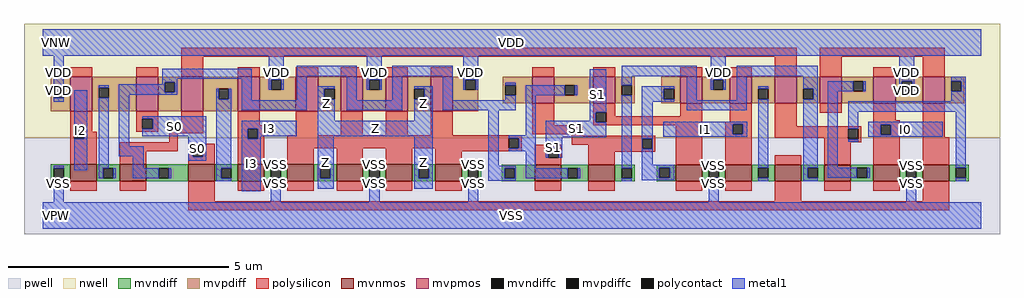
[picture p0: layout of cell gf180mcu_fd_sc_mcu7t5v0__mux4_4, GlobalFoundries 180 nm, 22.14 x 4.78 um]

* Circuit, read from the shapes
.subckt gf180mcu_fd_sc_mcu7t5v0__mux4_4 I0 I1 I2 I3 S0 S1 Z VDD VNW VPW VSS
XM1 n1 I2 VSS VPW nfet_06v0 w=0.38u l=0.6u
XM2 n2 n3 n1 VPW nfet_06v0 w=0.38u l=0.6u
XM3 n4 S0 n2 VPW nfet_06v0 w=0.38u l=0.6u
XM4 VSS I3 n4 VPW nfet_06v0 w=0.38u l=0.6u
XM5 Z n5 VSS VPW nfet_06v0 w=0.38u l=0.6u m=4
XM6 n5 S1 n2 VPW nfet_06v0 w=0.365u l=0.6u
XM7 n6 n7 n5 VPW nfet_06v0 w=0.365u l=0.6u
XM8 VSS S1 n7 VPW nfet_06v0 w=0.365u l=0.6u
XM9 n8 I1 VSS VPW nfet_06v0 w=0.365u l=0.6u
XM10 n6 S0 n8 VPW nfet_06v0 w=0.365u l=0.6u
XM11 n9 n3 n6 VPW nfet_06v0 w=0.365u l=0.6u
XM12 VSS I0 n9 VPW nfet_06v0 w=0.365u l=0.6u
XM13 n3 S0 VSS VPW nfet_06v0 w=0.365u l=0.6u
XM14 n1 I2 VDD VNW pfet_06v0 w=0.78u l=0.5u
XM15 n2 S0 n1 VNW pfet_06v0 w=0.78u l=0.5u
XM16 n4 n3 n2 VNW pfet_06v0 w=0.78u l=0.5u
XM17 VDD I3 n4 VNW pfet_06v0 w=0.78u l=0.5u
XM18 Z n5 VDD VNW pfet_06v0 w=0.78u l=0.5u m=4
XM19 n5 n7 n2 VNW pfet_06v0 w=0.595u l=0.5u
XM20 n6 S1 n5 VNW pfet_06v0 w=0.595u l=0.5u
XM21 VDD S1 n7 VNW pfet_06v0 w=0.595u l=0.5u
XM22 n8 I1 VDD VNW pfet_06v0 w=0.595u l=0.5u
XM23 n6 n3 n8 VNW pfet_06v0 w=0.595u l=0.5u
XM24 n9 S0 n6 VNW pfet_06v0 w=0.595u l=0.5u
XM25 VDD I0 n9 VNW pfet_06v0 w=0.595u l=0.5u
XM26 n3 S0 VDD VNW pfet_06v0 w=0.595u l=0.5u
.ends

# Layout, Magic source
magic
tech gf180mcuD
magscale 1 10
<< nwell >>
rect -86 352 4342 870
<< pwell >>
rect -86 -86 4342 352
<< mvnmos >>
rect 124 156 244 232
rect 348 156 468 232
rect 660 156 780 232
rect 884 156 1004 232
rect 1108 156 1228 232
rect 1332 156 1452 232
rect 1556 156 1676 232
rect 1780 156 1900 232
rect 2232 156 2352 229
rect 2475 156 2595 229
rect 2872 156 2992 229
rect 3096 156 3216 229
rect 3320 156 3440 229
rect 3544 156 3664 229
rect 3768 156 3888 229
rect 3992 156 4112 229
<< mvpmos >>
rect 124 472 224 628
rect 424 472 524 628
rect 628 472 728 628
rect 884 472 984 628
rect 1148 472 1248 628
rect 1352 472 1452 628
rect 1556 472 1656 628
rect 1760 472 1860 628
rect 2220 509 2320 628
rect 2496 509 2596 628
rect 2892 509 2992 628
rect 3116 509 3216 628
rect 3320 509 3420 628
rect 3524 509 3624 628
rect 3768 509 3868 628
rect 3992 509 4092 628
<< mvndiff >>
rect 36 215 124 232
rect 36 169 49 215
rect 95 169 124 215
rect 36 156 124 169
rect 244 215 348 232
rect 244 169 273 215
rect 319 169 348 215
rect 244 156 348 169
rect 468 215 660 232
rect 468 169 525 215
rect 571 169 660 215
rect 468 156 660 169
rect 780 215 884 232
rect 780 169 809 215
rect 855 169 884 215
rect 780 156 884 169
rect 1004 215 1108 232
rect 1004 169 1033 215
rect 1079 169 1108 215
rect 1004 156 1108 169
rect 1228 215 1332 232
rect 1228 169 1257 215
rect 1303 169 1332 215
rect 1228 156 1332 169
rect 1452 215 1556 232
rect 1452 169 1481 215
rect 1527 169 1556 215
rect 1452 156 1556 169
rect 1676 215 1780 232
rect 1676 169 1705 215
rect 1751 169 1780 215
rect 1676 156 1780 169
rect 1900 215 1988 232
rect 1900 169 1929 215
rect 1975 169 1988 215
rect 1900 156 1988 169
rect 2082 215 2232 229
rect 2082 169 2095 215
rect 2141 169 2232 215
rect 2082 156 2232 169
rect 2352 215 2475 229
rect 2352 169 2381 215
rect 2427 169 2475 215
rect 2352 156 2475 169
rect 2595 215 2684 229
rect 2595 169 2625 215
rect 2671 169 2684 215
rect 2595 156 2684 169
rect 2784 216 2872 229
rect 2784 170 2797 216
rect 2843 170 2872 216
rect 2784 156 2872 170
rect 2992 216 3096 229
rect 2992 170 3021 216
rect 3067 170 3096 216
rect 2992 156 3096 170
rect 3216 216 3320 229
rect 3216 170 3245 216
rect 3291 170 3320 216
rect 3216 156 3320 170
rect 3440 216 3544 229
rect 3440 170 3469 216
rect 3515 170 3544 216
rect 3440 156 3544 170
rect 3664 216 3768 229
rect 3664 170 3693 216
rect 3739 170 3768 216
rect 3664 156 3768 170
rect 3888 216 3992 229
rect 3888 170 3917 216
rect 3963 170 3992 216
rect 3888 156 3992 170
rect 4112 216 4200 229
rect 4112 170 4141 216
rect 4187 170 4200 216
rect 4112 156 4200 170
<< mvpdiff >>
rect 36 579 124 628
rect 36 533 49 579
rect 95 533 124 579
rect 36 472 124 533
rect 224 579 424 628
rect 224 533 253 579
rect 299 533 424 579
rect 224 472 424 533
rect 524 605 628 628
rect 524 559 553 605
rect 599 559 628 605
rect 524 472 628 559
rect 728 574 884 628
rect 728 528 797 574
rect 843 528 884 574
rect 728 472 884 528
rect 984 615 1148 628
rect 984 569 1035 615
rect 1081 569 1148 615
rect 984 472 1148 569
rect 1248 574 1352 628
rect 1248 528 1277 574
rect 1323 528 1352 574
rect 1248 472 1352 528
rect 1452 615 1556 628
rect 1452 569 1481 615
rect 1527 569 1556 615
rect 1452 472 1556 569
rect 1656 574 1760 628
rect 1656 528 1685 574
rect 1731 528 1760 574
rect 1656 472 1760 528
rect 1860 615 1976 628
rect 1860 569 1917 615
rect 1963 569 1976 615
rect 1860 472 1976 569
rect 2085 590 2220 628
rect 2085 544 2098 590
rect 2144 544 2220 590
rect 2085 509 2220 544
rect 2320 590 2496 628
rect 2320 544 2367 590
rect 2413 544 2496 590
rect 2320 509 2496 544
rect 2596 590 2684 628
rect 2596 544 2625 590
rect 2671 544 2684 590
rect 2596 509 2684 544
rect 2804 574 2892 628
rect 2804 528 2817 574
rect 2863 528 2892 574
rect 2804 509 2892 528
rect 2992 615 3116 628
rect 2992 569 3041 615
rect 3087 569 3116 615
rect 2992 509 3116 569
rect 3216 574 3320 628
rect 3216 528 3245 574
rect 3291 528 3320 574
rect 3216 509 3320 528
rect 3420 574 3524 628
rect 3420 528 3449 574
rect 3495 528 3524 574
rect 3420 509 3524 528
rect 3624 609 3768 628
rect 3624 563 3676 609
rect 3722 563 3768 609
rect 3624 509 3768 563
rect 3868 609 3992 628
rect 3868 563 3897 609
rect 3943 563 3992 609
rect 3868 509 3992 563
rect 4092 609 4180 628
rect 4092 563 4121 609
rect 4167 563 4180 609
rect 4092 509 4180 563
<< mvndiffc >>
rect 49 169 95 215
rect 273 169 319 215
rect 525 169 571 215
rect 809 169 855 215
rect 1033 169 1079 215
rect 1257 169 1303 215
rect 1481 169 1527 215
rect 1705 169 1751 215
rect 1929 169 1975 215
rect 2095 169 2141 215
rect 2381 169 2427 215
rect 2625 169 2671 215
rect 2797 170 2843 216
rect 3021 170 3067 216
rect 3245 170 3291 216
rect 3469 170 3515 216
rect 3693 170 3739 216
rect 3917 170 3963 216
rect 4141 170 4187 216
<< mvpdiffc >>
rect 49 533 95 579
rect 253 533 299 579
rect 553 559 599 605
rect 797 528 843 574
rect 1035 569 1081 615
rect 1277 528 1323 574
rect 1481 569 1527 615
rect 1685 528 1731 574
rect 1917 569 1963 615
rect 2098 544 2144 590
rect 2367 544 2413 590
rect 2625 544 2671 590
rect 2817 528 2863 574
rect 3041 569 3087 615
rect 3245 528 3291 574
rect 3449 528 3495 574
rect 3676 563 3722 609
rect 3897 563 3943 609
rect 4121 563 4167 609
<< polysilicon >>
rect 628 720 3420 760
rect 124 628 224 672
rect 424 628 524 672
rect 628 628 728 720
rect 884 628 984 672
rect 1148 628 1248 672
rect 1352 628 1452 672
rect 1556 628 1656 672
rect 1760 628 1860 672
rect 2220 628 2320 672
rect 2496 628 2596 672
rect 2892 628 2992 672
rect 3116 628 3216 672
rect 3320 628 3420 720
rect 3524 720 4092 760
rect 3524 628 3624 720
rect 3768 628 3868 672
rect 3992 628 4092 720
rect 124 394 224 472
rect 124 348 141 394
rect 187 380 224 394
rect 424 439 524 472
rect 424 393 451 439
rect 497 393 524 439
rect 628 412 728 472
rect 424 380 524 393
rect 187 348 244 380
rect 124 232 244 348
rect 572 372 728 412
rect 884 408 984 472
rect 884 394 1004 408
rect 572 332 612 372
rect 348 292 612 332
rect 884 348 928 394
rect 974 348 1004 394
rect 1148 364 1248 472
rect 1352 364 1452 472
rect 1556 364 1656 472
rect 1760 364 1860 472
rect 2220 409 2320 509
rect 2496 468 2596 509
rect 2496 422 2509 468
rect 2555 449 2596 468
rect 2892 449 2992 509
rect 2555 422 2992 449
rect 3116 426 3216 509
rect 2496 409 2992 422
rect 2220 369 2448 409
rect 660 311 780 324
rect 348 232 468 292
rect 660 265 679 311
rect 725 265 780 311
rect 660 232 780 265
rect 884 232 1004 348
rect 1108 351 2172 364
rect 1108 305 2113 351
rect 2159 305 2172 351
rect 2400 361 2448 369
rect 2400 348 2777 361
rect 2400 321 2718 348
rect 1108 304 2172 305
rect 1108 232 1228 304
rect 1332 232 1452 304
rect 1556 232 1676 304
rect 1780 292 2172 304
rect 2232 308 2352 321
rect 1780 232 1900 292
rect 2232 262 2293 308
rect 2339 262 2352 308
rect 2232 229 2352 262
rect 2475 302 2718 321
rect 2764 302 2777 348
rect 2475 289 2777 302
rect 2475 229 2595 289
rect 2872 229 2992 409
rect 3096 414 3216 426
rect 3096 368 3130 414
rect 3176 368 3216 414
rect 3096 229 3216 368
rect 3320 405 3420 509
rect 3524 465 3624 509
rect 3768 431 3868 509
rect 3768 412 3888 431
rect 3320 392 3712 405
rect 3320 352 3653 392
rect 3544 346 3653 352
rect 3699 346 3712 392
rect 3544 333 3712 346
rect 3768 366 3801 412
rect 3847 366 3888 412
rect 3320 229 3440 273
rect 3544 229 3664 333
rect 3768 229 3888 366
rect 3992 355 4092 509
rect 3992 229 4112 355
rect 124 112 244 156
rect 348 112 468 156
rect 660 64 780 156
rect 884 112 1004 156
rect 1108 112 1228 156
rect 1332 112 1452 156
rect 1556 112 1676 156
rect 1780 112 1900 156
rect 2232 112 2352 156
rect 2475 112 2595 156
rect 2872 112 2992 156
rect 3096 112 3216 156
rect 3320 64 3440 156
rect 3544 112 3664 156
rect 3768 112 3888 156
rect 3992 64 4112 156
rect 660 24 4112 64
<< polycontact >>
rect 141 348 187 394
rect 451 393 497 439
rect 928 348 974 394
rect 2509 422 2555 468
rect 679 265 725 311
rect 2113 305 2159 351
rect 2293 262 2339 308
rect 2718 302 2764 348
rect 3130 368 3176 414
rect 3653 346 3699 392
rect 3801 366 3847 412
<< metal1 >>
rect 0 724 4256 844
rect 49 579 95 724
rect 542 620 947 666
rect 542 605 610 620
rect 542 594 553 605
rect 252 579 299 590
rect 49 515 95 533
rect 141 394 202 567
rect 187 348 202 394
rect 49 215 95 226
rect 141 205 202 348
rect 252 533 253 579
rect 252 215 299 533
rect 345 559 553 594
rect 599 559 610 605
rect 345 548 610 559
rect 345 314 391 548
rect 786 528 797 574
rect 843 528 855 574
rect 451 439 740 450
rect 497 393 740 439
rect 451 360 740 393
rect 345 268 458 314
rect 408 215 458 268
rect 660 311 740 360
rect 660 265 679 311
rect 725 265 740 311
rect 660 248 740 265
rect 786 215 855 528
rect 901 523 947 620
rect 1024 615 1092 724
rect 1024 569 1035 615
rect 1081 569 1092 615
rect 1151 632 1424 678
rect 1151 523 1197 632
rect 901 476 1197 523
rect 1246 574 1323 585
rect 1246 528 1277 574
rect 1246 430 1323 528
rect 1378 523 1424 632
rect 1470 615 1538 724
rect 1470 569 1481 615
rect 1527 569 1538 615
rect 1584 631 1860 678
rect 1584 523 1630 631
rect 1378 476 1630 523
rect 1685 574 1768 585
rect 1731 528 1768 574
rect 1685 430 1768 528
rect 1814 523 1860 631
rect 1906 615 1974 724
rect 1906 569 1917 615
rect 1963 569 1974 615
rect 2098 590 2144 601
rect 2098 523 2144 544
rect 1814 476 2144 523
rect 2190 544 2367 590
rect 2413 544 2424 590
rect 252 169 273 215
rect 319 169 330 215
rect 408 169 525 215
rect 571 169 582 215
rect 786 169 809 215
rect 49 60 95 169
rect 786 156 855 169
rect 901 394 1151 430
rect 901 348 928 394
rect 974 360 1151 394
rect 1246 360 1768 430
rect 974 348 987 360
rect 901 110 987 348
rect 1033 215 1079 232
rect 1033 60 1079 169
rect 1246 215 1320 360
rect 1246 169 1257 215
rect 1303 169 1320 215
rect 1246 120 1320 169
rect 1481 215 1527 232
rect 1481 60 1527 169
rect 1685 215 1768 360
rect 1685 169 1705 215
rect 1751 169 1768 215
rect 1685 120 1768 169
rect 1929 215 1975 232
rect 1929 60 1975 169
rect 2021 226 2067 476
rect 2190 364 2236 544
rect 2481 468 2555 664
rect 2481 430 2509 468
rect 2113 351 2236 364
rect 2159 305 2236 351
rect 2113 292 2236 305
rect 2021 215 2144 226
rect 2021 169 2095 215
rect 2141 169 2144 215
rect 2190 215 2236 292
rect 2282 422 2509 430
rect 2282 354 2555 422
rect 2625 632 2966 678
rect 2625 590 2671 632
rect 2282 308 2355 354
rect 2282 262 2293 308
rect 2339 262 2355 308
rect 2282 261 2355 262
rect 2625 215 2671 544
rect 2190 169 2381 215
rect 2427 169 2438 215
rect 2021 158 2144 169
rect 2625 156 2671 169
rect 2717 574 2863 585
rect 2717 528 2817 574
rect 2717 515 2863 528
rect 2920 523 2966 632
rect 3029 615 3098 724
rect 3029 569 3041 615
rect 3087 569 3098 615
rect 3148 632 3515 678
rect 3148 523 3194 632
rect 2717 348 2767 515
rect 2920 476 3194 523
rect 3245 574 3291 585
rect 2815 414 3195 426
rect 2815 368 3130 414
rect 3176 368 3195 414
rect 2815 356 3195 368
rect 2717 302 2718 348
rect 2764 302 2767 348
rect 2717 229 2767 302
rect 2717 216 2863 229
rect 2717 170 2797 216
rect 2843 170 2863 216
rect 2717 159 2863 170
rect 3021 216 3067 229
rect 3021 60 3067 170
rect 3245 216 3291 528
rect 3245 156 3291 170
rect 3449 574 3515 632
rect 3886 609 3954 724
rect 3495 528 3515 574
rect 3449 216 3515 528
rect 3449 170 3469 216
rect 3561 563 3676 609
rect 3722 563 3733 609
rect 3886 563 3897 609
rect 3943 563 3954 609
rect 4120 609 4187 628
rect 4120 563 4121 609
rect 4167 563 4187 609
rect 3561 216 3607 563
rect 4120 517 4187 563
rect 3653 471 4187 517
rect 3653 392 3699 471
rect 3745 412 4083 424
rect 3745 366 3801 412
rect 3847 366 4083 412
rect 3745 356 4083 366
rect 3653 335 3699 346
rect 3917 216 3963 229
rect 3561 170 3693 216
rect 3739 170 3750 216
rect 3449 156 3515 170
rect 3917 60 3963 170
rect 4141 216 4187 471
rect 4141 156 4187 170
rect 0 -60 4256 60
<< labels >>
flabel metal1 s 3745 356 4083 424 0 FreeSans 400 0 0 0 I0
port 1 nsew default input
flabel metal1 s 1929 229 1975 232 0 FreeSans 400 0 0 0 VSS
port 11 nsew ground bidirectional abutment
flabel metal1 s 0 724 4256 844 0 FreeSans 400 0 0 0 VDD
port 8 nsew power bidirectional abutment
flabel metal1 s 141 205 202 567 0 FreeSans 400 0 0 0 I2
port 3 nsew default input
flabel metal1 s 2815 356 3195 426 0 FreeSans 400 0 0 0 I1
port 2 nsew default input
flabel metal1 s 451 360 740 450 0 FreeSans 400 0 0 0 S0
port 5 nsew default input
flabel metal1 s 901 360 1151 430 0 FreeSans 400 0 0 0 I3
port 4 nsew default input
flabel metal1 s 2481 430 2555 664 0 FreeSans 400 0 0 0 S1
port 6 nsew default input
flabel metal1 s 1685 430 1768 585 0 FreeSans 400 0 0 0 Z
port 7 nsew default output
flabel nwell s 10 734 110 834 0 FreeSans 400 0 0 0 VNW
port 9 nsew power bidirectional
flabel pwell s 10 -50 110 50 0 FreeSans 400 0 0 0 VPW
port 10 nsew ground bidirectional
rlabel metal1 s 901 110 987 360 1 I3
port 4 nsew default input
rlabel metal1 s 660 248 740 360 1 S0
port 5 nsew default input
rlabel metal1 s 2282 354 2555 430 1 S1
port 6 nsew default input
rlabel metal1 s 2282 261 2355 354 1 S1
port 6 nsew default input
rlabel metal1 s 1246 430 1323 585 1 Z
port 7 nsew default output
rlabel metal1 s 1246 360 1768 430 1 Z
port 7 nsew default output
rlabel metal1 s 1685 120 1768 360 1 Z
port 7 nsew default output
rlabel metal1 s 1246 120 1320 360 1 Z
port 7 nsew default output
rlabel metal1 s 3886 569 3954 724 1 VDD
port 8 nsew power bidirectional abutment
rlabel metal1 s 3029 569 3098 724 1 VDD
port 8 nsew power bidirectional abutment
rlabel metal1 s 1906 569 1974 724 1 VDD
port 8 nsew power bidirectional abutment
rlabel metal1 s 1470 569 1538 724 1 VDD
port 8 nsew power bidirectional abutment
rlabel metal1 s 1024 569 1092 724 1 VDD
port 8 nsew power bidirectional abutment
rlabel metal1 s 49 569 95 724 1 VDD
port 8 nsew power bidirectional abutment
rlabel metal1 s 3886 563 3954 569 1 VDD
port 8 nsew power bidirectional abutment
rlabel metal1 s 49 563 95 569 1 VDD
port 8 nsew power bidirectional abutment
rlabel metal1 s 49 515 95 563 1 VDD
port 8 nsew power bidirectional abutment
rlabel metal1 s 1481 229 1527 232 1 VSS
port 11 nsew ground bidirectional abutment
rlabel metal1 s 1033 229 1079 232 1 VSS
port 11 nsew ground bidirectional abutment
rlabel metal1 s 3917 226 3963 229 1 VSS
port 11 nsew ground bidirectional abutment
rlabel metal1 s 3021 226 3067 229 1 VSS
port 11 nsew ground bidirectional abutment
rlabel metal1 s 1929 226 1975 229 1 VSS
port 11 nsew ground bidirectional abutment
rlabel metal1 s 1481 226 1527 229 1 VSS
port 11 nsew ground bidirectional abutment
rlabel metal1 s 1033 226 1079 229 1 VSS
port 11 nsew ground bidirectional abutment
rlabel metal1 s 3917 60 3963 226 1 VSS
port 11 nsew ground bidirectional abutment
rlabel metal1 s 3021 60 3067 226 1 VSS
port 11 nsew ground bidirectional abutment
rlabel metal1 s 1929 60 1975 226 1 VSS
port 11 nsew ground bidirectional abutment
rlabel metal1 s 1481 60 1527 226 1 VSS
port 11 nsew ground bidirectional abutment
rlabel metal1 s 1033 60 1079 226 1 VSS
port 11 nsew ground bidirectional abutment
rlabel metal1 s 49 60 95 226 1 VSS
port 11 nsew ground bidirectional abutment
rlabel metal1 s 0 -60 4256 60 1 VSS
port 11 nsew ground bidirectional abutment
<< properties >>
string FIXED_BBOX 0 0 4256 784
string GDS_END 698698
string GDS_FILE $PDKPATH/libs.ref/gf180mcu_fd_sc_mcu7t5v0/gds/gf180mcu_fd_sc_mcu7t5v0.gds
string GDS_START 690048
string LEFclass core
string LEFsite GF018hv5v_mcu_sc7
string LEFsymmetry X Y
<< end >>
